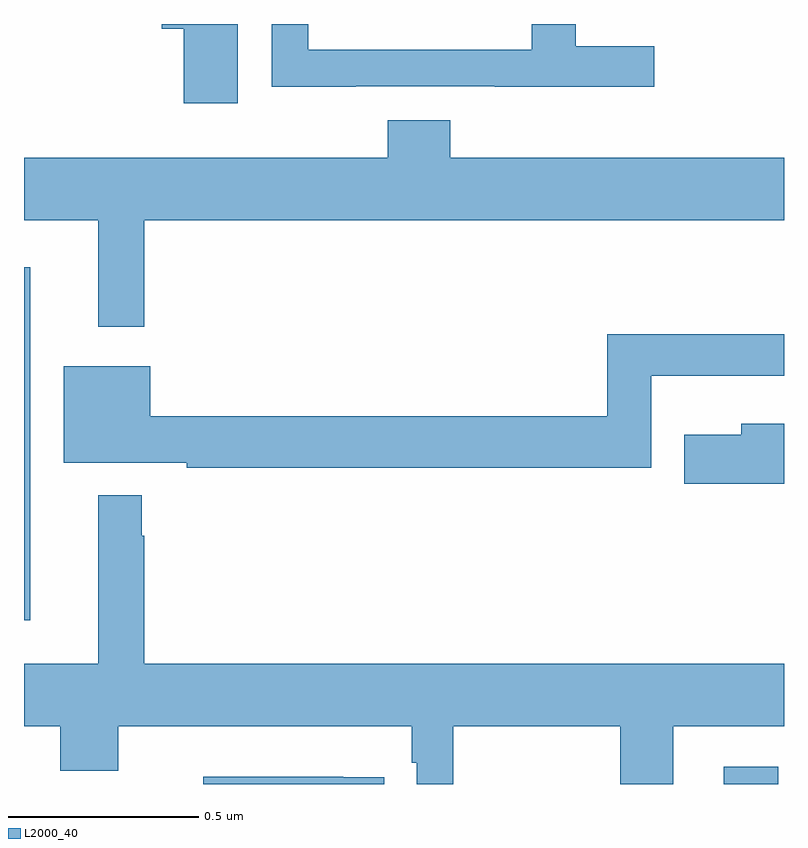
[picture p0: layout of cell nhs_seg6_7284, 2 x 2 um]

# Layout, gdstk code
import gdstk
lib = gdstk.Library(unit=1e-6, precision=1e-09)
def R(c, l, rs):  # rectangles x0, y0, x1, y1
    for r in rs: c.add(gdstk.rectangle(r[:2], r[2:], *l))
def P(c, l, *ps):  # polygons
    for p in ps: c.add(gdstk.Polygon(p, *l))
L2000_40 = (2000, 40)

nhs_seg6_7284 = lib.new_cell('nhs_seg6_7284')
R(nhs_seg6_7284, L2000_40, [(207.842,964.5,207.985,964.546), (206,964.931,206.017,965.86)])
P(nhs_seg6_7284, L2000_40, [(206.563,966.5),(206.363,966.5),(206.363,966.488),(206.42,966.488),(206.42,966.291),(206.563,966.291)],
  [(206.873,966.336),(207.239,966.336),(207.239,966.335),(207.658,966.335),(207.658,966.442),(207.452,966.442),(207.452,966.5),(207.336,966.5),(207.336,966.432),(206.748,966.432),(206.748,966.5),(206.652,966.5),(206.652,966.335),(206.873,966.335)],
  [(208,966.148),(207.122,966.148),(207.122,966.247),(206.957,966.247),(206.957,966.148),(206,966.148),(206,965.984),(206.195,965.984),(206.195,965.703),(206.317,965.703),(206.317,965.984),(208,965.984)],
  [(207.651,965.574),(208,965.574),(208,965.683),(207.535,965.683),(207.535,965.468),(206.332,965.468),(206.332,965.599),(206.105,965.599),(206.105,965.345),(206.428,965.345),(206.428,965.332),(207.651,965.332)],
  [(208,965.448),(207.887,965.448),(207.887,965.419),(207.738,965.419),(207.738,965.29),(208,965.29)],
  [(207.13,964.652),(207.569,964.652),(207.569,964.5),(207.709,964.5),(207.709,964.652),(208,964.652),(208,964.816),(206.317,964.816),(206.317,965.153),(206.31,965.153),(206.31,965.26),(206.195,965.26),(206.195,964.816),(206,964.816),(206,964.652),(206.096,964.652),(206.096,964.535),(206.248,964.535),(206.248,964.652),(207.02,964.652),(207.02,964.556),(207.033,964.556),(207.033,964.5),(207.13,964.5)],
  [(206.948,964.518),(206.84,964.518),(206.84,964.519),(206.472,964.519),(206.472,964.5),(206.948,964.5)])

lib.write_gds('nhs_seg6_7284.gds')
